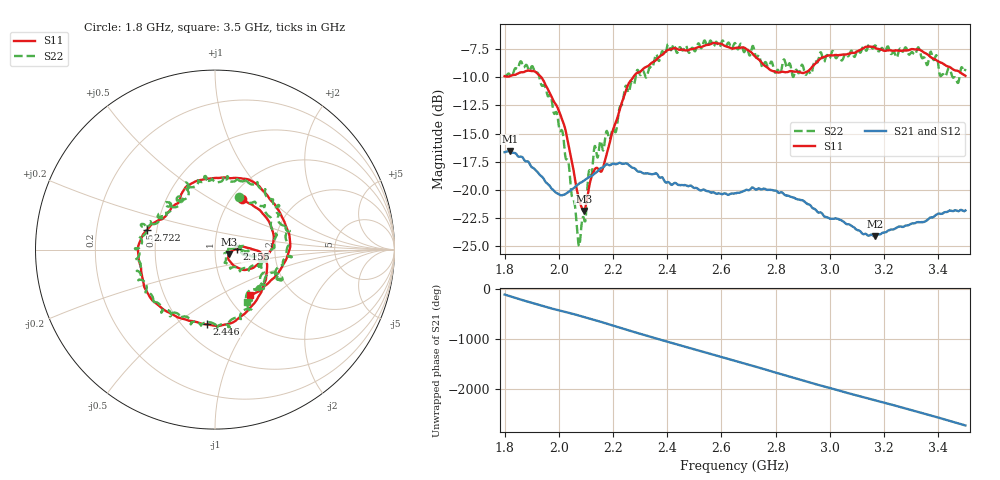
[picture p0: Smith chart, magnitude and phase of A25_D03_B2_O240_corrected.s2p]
! Created with skrf 1.9.0 (http://scikit-rf.org).
# Hz S RI R 50.0
!freq ReS11 ImS11 ReS21 ImS21 ReS12 ImS12 ReS22 ImS22
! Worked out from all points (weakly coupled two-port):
!   1601 points, 1.8 GHz to 3.5 GHz, reference 50 ohm
!   highest |S21| = -16.56 dB at 1.819 GHz (marker M1); lowest = -24.1 dB at 3.165 GHz (marker M2)
!   lowest |S11| = -21.9 dB at 2.092 GHz (marker M3), VSWR 1.17, Z = 58.2 - j2.91 ohm
!   |S11| at or under -10 dB: 1.935 GHz to 2.274 GHz (338.8 MHz wide, 16.1 % of centre)
!   |S22| runs from -25.0 to -6.7 dB; largest |S21 - S12| = 0.0026
!   S11 on the Smith chart (normalised r, x): 1.8 GHz: 1.12, +0.71; 2.155 GHz: 1.27, +0.01; 2.446 GHz: 0.65, -0.66; 2.722 GHz: 0.44, +0.12; 3.5 GHz: 1.26, -0.72
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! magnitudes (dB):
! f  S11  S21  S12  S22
! 1.8 GHz  -9.9  -16.7  -16.7  -9.8
! 1.819 GHz  -9.9  -16.6  -16.6  -9.8
! 1.903 GHz  -9.4  -18.0  -18.0  -9.0
! 1.968 GHz  -11.5  -19.7  -19.8  -11.6
! 2.015 GHz  -13.9  -20.5  -20.5  -15.0
! 2.072 GHz  -20.6  -19.5  -19.5  -24.8
! 2.084 GHz  -21.6  -19.3  -19.3  -23.1
! 2.092 GHz  -21.9  -19.2  -19.2  -22.5
! 2.13 GHz  -18.3  -18.6  -18.6  -16.3
! 2.155 GHz  -18.4  -18.1  -18.1  -15.7
! 2.209 GHz  -14.1  -17.7  -17.7  -14.9
! 2.258 GHz  -10.5  -17.8  -17.8  -11.3
! 2.367 GHz  -8.3  -18.8  -18.7  -8.5
! 2.446 GHz  -7.6  -19.6  -19.6  -7.3
! 2.65 GHz  -7.4  -20.3  -20.3  -7.0
! 2.722 GHz  -8.1  -19.9  -19.8  -7.7
! 2.934 GHz  -9.1  -21.6  -21.5  -9.6
! 3.165 GHz  -7.3  -24.1  -24.1  -7.2
! 3.217 GHz  -7.6  -23.6  -23.6  -7.4
! 3.375 GHz  -8.3  -22.5  -22.5  -7.8
! 3.468 GHz  -9.4  -21.9  -21.8  -10.3
! 3.5 GHz  -9.9  -21.8  -21.8  -9.2
